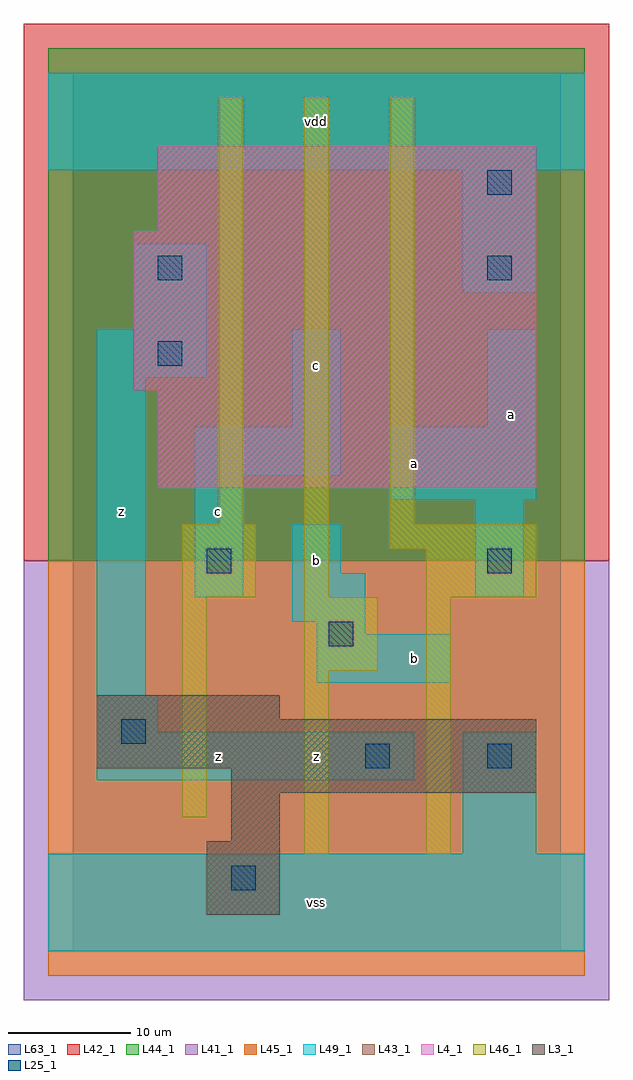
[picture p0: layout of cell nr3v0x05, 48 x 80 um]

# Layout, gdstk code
import gdstk
lib = gdstk.Library(unit=1e-6, precision=1e-09)
def R(c, l, rs):  # rectangles x0, y0, x1, y1
    for r in rs: c.add(gdstk.rectangle(r[:2], r[2:], *l))
L3_1 = (3, 1)
L4_1 = (4, 1)
L25_1 = (25, 1)
L41_1 = (41, 1)
L42_1 = (42, 1)
L43_1 = (43, 1)
L44_1 = (44, 1)
L45_1 = (45, 1)
L46_1 = (46, 1)
L49_1 = (49, 1)
L63_1 = (63, 1)

nr3v0x05 = lib.new_cell('nr3v0x05')
R(nr3v0x05, L3_1, [(11,3,17,9), (13,9,17,13), (13,13,38,15), (2,15,38,19), (2,19,17,21)])
R(nr3v0x05, L4_1, [(7,38,38,46), (5,46,38,59), (7,59,38,66)])
R(nr3v0x05, L25_1, [(13,5,15,7), (24,15,26,17), (34,15,36,17), (4,17,6,19), (21,25,23,27), (11,31,13,33), (34,31,36,33), (7,48,9,50), (7,55,9,57), (34,55,36,57), (34,62,36,64)])
R(nr3v0x05, L41_1, [(-4,-4,44,32)])
R(nr3v0x05, L42_1, [(-4,32,44,76)])
R(nr3v0x05, L43_1, [(11,3,17,9), (13,9,17,13), (13,13,38,15), (2,15,38,19), (2,19,17,21), (7,38,38,46), (5,46,38,59), (7,59,38,66)])
R(nr3v0x05, L44_1, [(-2,32,42,74)])
R(nr3v0x05, L45_1, [(-2,-2,42,32)])
R(nr3v0x05, L46_1, [(19,8,21,23), (29,8,31,29), (9,11,11,29), (19,23,25,29), (9,29,15,35), (19,29,21,70), (29,29,38,33), (26,33,38,35), (12,35,14,70), (26,35,28,70)])
R(nr3v0x05, L49_1, [(-2,0,42,8), (32,8,38,18), (2,14,28,18), (2,18,7,21), (2,21,6,47), (20,22,31,26), (20,26,24,27), (18,27,24,31), (10,29,14,39), (33,29,37,37), (18,31,22,35), (26,37,38,43), (10,39,22,43), (18,43,22,51), (34,43,38,51), (2,47,11,51), (5,51,11,58), (32,54,38,64), (-2,64,42,72)])
R(nr3v0x05, L63_1, [(0,0,40,72)])
nr3v0x05.add(gdstk.Label('z', (4,36), layer=49, texttype=1))
nr3v0x05.add(gdstk.Label('z', (12,16), layer=49, texttype=1))
nr3v0x05.add(gdstk.Label('c', (12,36), layer=49, texttype=1))
nr3v0x05.add(gdstk.Label('vss', (20,4), layer=49, texttype=1))
nr3v0x05.add(gdstk.Label('vss', (20,4), layer=49, texttype=1))
nr3v0x05.add(gdstk.Label('z', (20,16), layer=49, texttype=1))
nr3v0x05.add(gdstk.Label('b', (20,32), layer=49, texttype=1))
nr3v0x05.add(gdstk.Label('b', (28,24), layer=49, texttype=1))
nr3v0x05.add(gdstk.Label('a', (28,40), layer=49, texttype=1))
nr3v0x05.add(gdstk.Label('c', (20,48), layer=49, texttype=1))
nr3v0x05.add(gdstk.Label('vdd', (20,68), layer=49, texttype=1))
nr3v0x05.add(gdstk.Label('vdd', (20,68), layer=49, texttype=1))
nr3v0x05.add(gdstk.Label('a', (36,44), layer=49, texttype=1))

lib.write_gds('nr3v0x05.gds')
